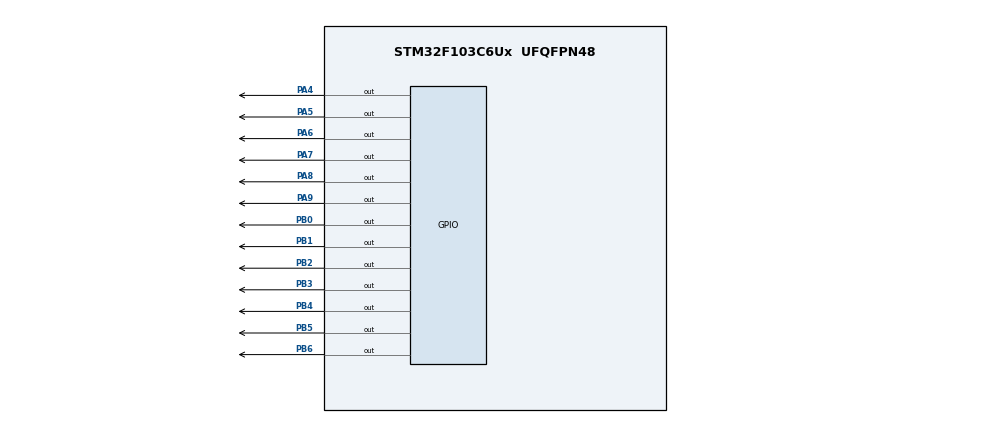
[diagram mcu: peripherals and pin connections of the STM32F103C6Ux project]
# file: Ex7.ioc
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Mcu.Family=STM32F1
Mcu.Name=STM32F103C6Ux
Mcu.Package=UFQFPN48
NVIC.PriorityGroup=NVIC_PRIORITYGROUP_4
NVIC.TIM2_IRQn=true\:0\:0\:false\:false\:true\:true\:true
PA4.Signal=GPIO_Output
PA5.Signal=GPIO_Output
PA6.Signal=GPIO_Output
PA7.Signal=GPIO_Output
PA8.Signal=GPIO_Output
PA9.Signal=GPIO_Output
PB0.Signal=GPIO_Output
PB1.Signal=GPIO_Output
PB2.Signal=GPIO_Output
PB3.Signal=GPIO_Output
PB4.Signal=GPIO_Output
PB5.Signal=GPIO_Output
PB6.Signal=GPIO_Output
ProjectManager.HeapSize=0x200
ProjectManager.StackSize=0x400
ProjectManager.TargetToolchain=STM32CubeIDE
RCC.APB1Freq_Value=8000000
RCC.APB2Freq_Value=8000000
TIM2.Period=9
TIM2.Prescaler=7999
VP_SYS_VS_ND.Mode=No_Debug
VP_TIM2_VS_ClockSourceINT.Mode=Internal
board=custom

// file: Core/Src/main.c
/* USER CODE BEGIN Header */
/**
  ******************************************************************************
  * @file           : main.c
  * @brief          : Main program body
  ******************************************************************************
  * @attention
  *
  * <h2><center>&copy; Copyright (c) 2022 STMicroelectronics.
  * All rights reserved.</center></h2>
  *
  * This software component is licensed by ST under BSD 3-Clause license,
  * the "License"; You may not use this file except in compliance with the
  * License. You may obtain a copy of the License at:
  *                        opensource.org/licenses/BSD-3-Clause
  *
  ******************************************************************************
  */
/* USER CODE END Header */
#include "main.h"

/* USER CODE BEGIN Includes */
#include "software_timer.h"

/* USER CODE END Includes */

TIM_HandleTypeDef htim2;

void SystemClock_Config(void);
static void MX_GPIO_Init(void);
static void MX_TIM2_Init(void);

/* USER CODE BEGIN 0 */
int arr[10] = {
		0x00C0,  //0
		0x00F9,  //1
		0x00A4,  //2
		0x00B0,  //3
		0x0099,  //4
		0x0092,  //5
		0x0082,  //6
		0x00F8,  //7
		0x0080,  //8
		0x0090,  //9
};
void display_7segment(int number){
//	HAL_GPIO_WritePin(GPIOB,GPIO_PIN_0,(number>>0)&0x01);
//	HAL_GPIO_WritePin(GPIOB,GPIO_PIN_1,(number>>1)&0x01);
//	HAL_GPIO_WritePin(GPIOB,GPIO_PIN_2,(number>>2)&0x01);
//	HAL_GPIO_WritePin(GPIOB,GPIO_PIN_3,(number>>3)&0x01);
//	HAL_GPIO_WritePin(GPIOB,GPIO_PIN_4,(number>>4)&0x01);
//	HAL_GPIO_WritePin(GPIOB,GPIO_PIN_5,(number>>5)&0x01);
//	HAL_GPIO_WritePin(GPIOB,GPIO_PIN_6,(number>>6)&0x01);
	GPIOB->ODR = arr[number];
}
const int MAX_LED = 4;
int index_led = 3;
int led_buffer[4] = {1,2,3,4};
void update7SEG(int index){
	switch(index){
		case 0:
			display_7segment(led_buffer[index]);
			break;
		case 1:
			display_7segment(led_buffer[index]);
			break;
		case 2:
			display_7segment(led_buffer[index]);
			break;
		case 3:
			display_7segment(led_buffer[index]);
			break;
		default:
			break;
	}
}
int h = 15,m = 8,s = 50;
void updateClockBuffer(){
	led_buffer[0] = (int)h/10;
	led_buffer[1] = (int)h%10;
	led_buffer[2] = (int)m/10;
	led_buffer[3] = (int)m%10;
}
/* USER CODE END 0 */

int main(void)
{

  /* MCU Configuration--------------------------------------------------------*/

  /* Reset of all peripherals, Initializes the Flash interface and the Systick. */
  HAL_Init();

  /* Configure the system clock */
  SystemClock_Config();

  /* Initialize all configured peripherals */
  MX_GPIO_Init();
  MX_TIM2_Init();
  /* USER CODE BEGIN 2 */
  HAL_TIM_Base_Start_IT (& htim2 ) ;
  /* USER CODE END 2 */

  /* Infinite loop */
  /* USER CODE BEGIN WHILE */

//  setTimer(1,10); // 50
//  int en0 = 0,en1 = 1,en2 = 1,en3 = 1;
  updateClockBuffer();
  setTimer(0,100); //1000
  while (1)
  {
	  if(timer_flag[0]){
		  setTimer(0,100);
		  HAL_GPIO_TogglePin(GPIOA,GPIO_PIN_4);
		  HAL_GPIO_TogglePin(GPIOA,GPIO_PIN_5);
		  s++;
		  if(s == 60){
			  s = 0;
			  m++;
		  }
		  else if(m == 60){
			  m = 0;
			  h++;
		  }
		  else if(h == 24){
			  h = 0;
		  }
		  updateClockBuffer();
	  }
    /* USER CODE END WHILE */

  }
}

void SystemClock_Config(void)
{
  RCC_OscInitTypeDef RCC_OscInitStruct = {0};
  RCC_ClkInitTypeDef RCC_ClkInitStruct = {0};

  /** Initializes the RCC Oscillators according to the specified parameters
  * in the RCC_OscInitTypeDef structure.
  */
  RCC_OscInitStruct.OscillatorType = RCC_OSCILLATORTYPE_HSI;
  RCC_OscInitStruct.HSIState = RCC_HSI_ON;
  RCC_OscInitStruct.HSICalibrationValue = RCC_HSICALIBRATION_DEFAULT;
  RCC_OscInitStruct.PLL.PLLState = RCC_PLL_NONE;
  if (HAL_RCC_OscConfig(&RCC_OscInitStruct) != HAL_OK)
  {
    Error_Handler();
  }
  /** Initializes the CPU, AHB and APB buses clocks
  */
  RCC_ClkInitStruct.ClockType = RCC_CLOCKTYPE_HCLK|RCC_CLOCKTYPE_SYSCLK
                              |RCC_CLOCKTYPE_PCLK1|RCC_CLOCKTYPE_PCLK2;
  RCC_ClkInitStruct.SYSCLKSource = RCC_SYSCLKSOURCE_HSI;
  RCC_ClkInitStruct.AHBCLKDivider = RCC_SYSCLK_DIV1;
  RCC_ClkInitStruct.APB1CLKDivider = RCC_HCLK_DIV1;
  RCC_ClkInitStruct.APB2CLKDivider = RCC_HCLK_DIV1;

  if (HAL_RCC_ClockConfig(&RCC_ClkInitStruct, FLASH_LATENCY_0) != HAL_OK)
  {
    Error_Handler();
  }
}

static void MX_TIM2_Init(void)
{

  TIM_ClockConfigTypeDef sClockSourceConfig = {0};
  TIM_MasterConfigTypeDef sMasterConfig = {0};

  htim2.Instance = TIM2;
  htim2.Init.Prescaler = 7999;
  htim2.Init.CounterMode = TIM_COUNTERMODE_UP;
  htim2.Init.Period = 9;
  htim2.Init.ClockDivision = TIM_CLOCKDIVISION_DIV1;
  htim2.Init.AutoReloadPreload = TIM_AUTORELOAD_PRELOAD_DISABLE;
  if (HAL_TIM_Base_Init(&htim2) != HAL_OK)
  {
    Error_Handler();
  }
  sClockSourceConfig.ClockSource = TIM_CLOCKSOURCE_INTERNAL;
  if (HAL_TIM_ConfigClockSource(&htim2, &sClockSourceConfig) != HAL_OK)
  {
    Error_Handler();
  }
  sMasterConfig.MasterOutputTrigger = TIM_TRGO_RESET;
  sMasterConfig.MasterSlaveMode = TIM_MASTERSLAVEMODE_DISABLE;
  if (HAL_TIMEx_MasterConfigSynchronization(&htim2, &sMasterConfig) != HAL_OK)
  {
    Error_Handler();
  }

}

static void MX_GPIO_Init(void)
{
  GPIO_InitTypeDef GPIO_InitStruct = {0};

  /* GPIO Ports Clock Enable */
  __HAL_RCC_GPIOA_CLK_ENABLE();
  __HAL_RCC_GPIOB_CLK_ENABLE();

  /*Configure GPIO pin Output Level */
  HAL_GPIO_WritePin(GPIOA, GPIO_PIN_4|GPIO_PIN_5|GPIO_PIN_6|GPIO_PIN_7
                          |GPIO_PIN_8|GPIO_PIN_9, GPIO_PIN_RESET);

  /*Configure GPIO pin Output Level */
  HAL_GPIO_WritePin(GPIOB, GPIO_PIN_0|GPIO_PIN_1|GPIO_PIN_2|GPIO_PIN_3
                          |GPIO_PIN_4|GPIO_PIN_5|GPIO_PIN_6, GPIO_PIN_RESET);

  /*Configure GPIO pins : PA4 PA5 PA6 PA7
                           PA8 PA9 */
  GPIO_InitStruct.Pin = GPIO_PIN_4|GPIO_PIN_5|GPIO_PIN_6|GPIO_PIN_7
                          |GPIO_PIN_8|GPIO_PIN_9;
  GPIO_InitStruct.Mode = GPIO_MODE_OUTPUT_PP;
  GPIO_InitStruct.Pull = GPIO_NOPULL;
  GPIO_InitStruct.Speed = GPIO_SPEED_FREQ_LOW;
  HAL_GPIO_Init(GPIOA, &GPIO_InitStruct);

  /*Configure GPIO pins : PB0 PB1 PB2 PB3
                           PB4 PB5 PB6 */
  GPIO_InitStruct.Pin = GPIO_PIN_0|GPIO_PIN_1|GPIO_PIN_2|GPIO_PIN_3
                          |GPIO_PIN_4|GPIO_PIN_5|GPIO_PIN_6;
  GPIO_InitStruct.Mode = GPIO_MODE_OUTPUT_PP;
  GPIO_InitStruct.Pull = GPIO_NOPULL;
  GPIO_InitStruct.Speed = GPIO_SPEED_FREQ_LOW;
  HAL_GPIO_Init(GPIOB, &GPIO_InitStruct);

}

/* USER CODE BEGIN 4 */
int cnt = 0;
int en[4] = {1,1,1,0};
void HAL_TIM_PeriodElapsedCallback (TIM_HandleTypeDef * htim ){
	timerRun();
	cnt--;
	if(cnt <= 0){
		cnt = 50;
		en[index_led] = 1;
		index_led = (index_led+1)%MAX_LED;
		en[index_led] = 0;
		HAL_GPIO_WritePin(GPIOA,GPIO_PIN_6,en[0]);
		HAL_GPIO_WritePin(GPIOA,GPIO_PIN_7,en[1]);
		HAL_GPIO_WritePin(GPIOA,GPIO_PIN_8,en[2]);
		HAL_GPIO_WritePin(GPIOA,GPIO_PIN_9,en[3]);
		update7SEG(index_led);
	}
//	HAL_GPIO_WritePin(GPIOA,GPIO_PIN_6,en[0]);
//	HAL_GPIO_WritePin(GPIOA,GPIO_PIN_7,en[1]);
//	HAL_GPIO_WritePin(GPIOA,GPIO_PIN_8,en[2]);
//	HAL_GPIO_WritePin(GPIOA,GPIO_PIN_9,en[3]);
//	update7SEG(index_led);
}
/* USER CODE END 4 */

void Error_Handler(void)
{
  __disable_irq();
  while (1)
  {
  }
}

/************************ (C) COPYRIGHT STMicroelectronics *****END OF FILE****/
